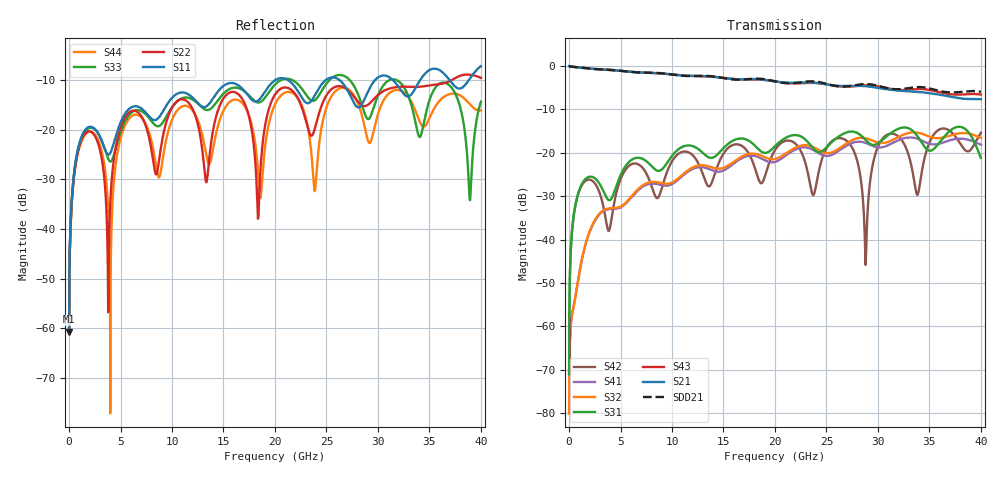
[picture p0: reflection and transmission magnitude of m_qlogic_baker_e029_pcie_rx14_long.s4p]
! freq	real(S11)	imag(S11)	real(S12)	imag(S12)	real(S13)	imag(S13)
!  real(S14)	imag(S14)
!  real(S21)	imag(S21)	real(S22)	imag(S22)	real(S23)	imag(S23)
!  real(S24)	imag(S24)
!  real(S31)	imag(S31)	real(S32)	imag(S32)	real(S33)	imag(S33)
!  real(S34)	imag(S34)
!  real(S41)	imag(S41)	real(S42)	imag(S42)	real(S43)	imag(S43)
!  real(S44)	imag(S44)
!port1: p1  port2: p2  port3: p3  port4: p4
#  MHz  S  RI  R 50
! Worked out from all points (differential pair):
!   8000 points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, 5 MHz to 40 GHz, reference 50 ohm
!   strongest paths, dB at 5 MHz, 10.01 GHz, 20 GHz, 30 GHz, 40 GHz:
!     S21: 0.0, -1.9, -3.5, -5.0, -7.6
!     S43: 0.0, -1.9, -3.5, -4.7, -6.6
!     S31: -71.1, -20.7, -18.5, -17.8, -21.1
!     S32: -80.1, -26.8, -21.4, -17.6, -16.6
!     S41: -80.1, -27.2, -22.1, -18.7, -18.1
!     S42: -71.1, -21.9, -19.3, -18.6, -15.4
!   taken as a pair (ports 1,3 in; 2,4 out), SDD21 dB: 0.0, -2.0, -3.5, -4.6, -5.9
!   lowest |S11| = -60.7 dB at 5 MHz (marker M1), VSWR 1.00, Z = 50.1 - j0.000802 ohm
!   |S11| at or under -10 dB: start of sweep to 20.02 GHz; 21.28 GHz to 24.92 GHz (3.639 GHz wide, 15.8 % of centre); 26.28 GHz to 29.71 GHz (3.433 GHz wide, 12.3 % of centre)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
5  0.000922 -8e-06  0.999 -0.00394  0.000252 3.47e-05  -0.000127 -1.08e-05
   0.999 -0.00394  0.000918 -7.69e-06  -0.000127 -1.08e-05  0.000251 3.43e-05
   0.000276 3.8e-05  -9.88e-05 -8.34e-06  0.000923 -3.44e-06  0.999 -0.00391
   -9.88e-05 -8.34e-06  0.000276 3.76e-05  0.999 -0.00391  0.000919 -3.2e-06
970  -0.022 -0.0681  0.7546 -0.601  0.0208 0.0301  -0.00169 -0.00356
     0.7546 -0.601  -0.0298 -0.0605  -0.00163 -0.00365  0.0262 0.0244
     0.0208 0.0301  -0.00163 -0.0036  -0.0198 -0.0649  0.7583 -0.5967
     -0.00169 -0.00351  0.0262 0.0245  0.7583 -0.5967  -0.0268 -0.0586
4635  -0.0318 -0.0871  -0.89 -0.0297  0.0221 0.0365  0.00155 0.0228
      -0.8899 -0.0297  0.00248 -0.0758  0.000568 0.0233  -0.00784 0.0352
      0.0222 0.0366  0.000566 0.0232  -0.026 -0.0658  -0.8893 -0.0554
      0.00154 0.0227  -0.00784 0.0353  -0.8893 -0.0554  0.00228 -0.0535
9325  -0.0901 -0.1405  0.8118 0.0825  0.0542 0.0459  0.0022 -0.0418
      0.8118 0.0825  0.0449 -0.0978  0.00499 -0.0438  -0.0331 0.0401
      0.0542 0.046  0.00495 -0.0438  -0.0718 -0.107  0.8071 0.1302
      0.0022 -0.0418  -0.0331 0.0401  0.8071 0.1302  0.0395 -0.0577
14330  -0.1548 -0.1747  -0.7459 0.0125  0.0871 0.035  0.00262 0.0608
       -0.7459 0.0125  0.047 -0.134  -0.00289 0.0659  -0.0475 0.0457
       0.0871 0.035  -0.00289 0.0659  -0.1267 -0.1421  -0.7458 -0.0555
       0.00262 0.0608  -0.0475 0.0457  -0.7458 -0.0555  0.0578 -0.0773
18955  -0.1779 -0.1546  0.6902 0.0909  0.0997 -0.00566  0.00239 -0.0827
       0.6901 0.0909  0.0291 -0.0928  0.0127 -0.0886  -0.0507 -0.000335
       0.0998 -0.00577  0.0127 -0.0887  -0.1609 -0.1287  0.6712 0.1744
       0.00236 -0.0828  -0.0507 -0.000339  0.6713 0.1744  0.0433 -0.0355
40000  -0.3802 -0.217  0.2491 -0.3333  -0.0228 -0.0846  -0.118 -0.039
       0.249 -0.3333  -0.3336 -0.0105  -0.1328 -0.0668  0.0995 0.1383
       -0.0227 -0.0846  -0.1328 -0.0668  -0.1075 -0.1591  0.3622 -0.2995
       -0.1179 -0.0389  0.0996 0.1384  0.3622 -0.2996  -0.1564 0.0183
